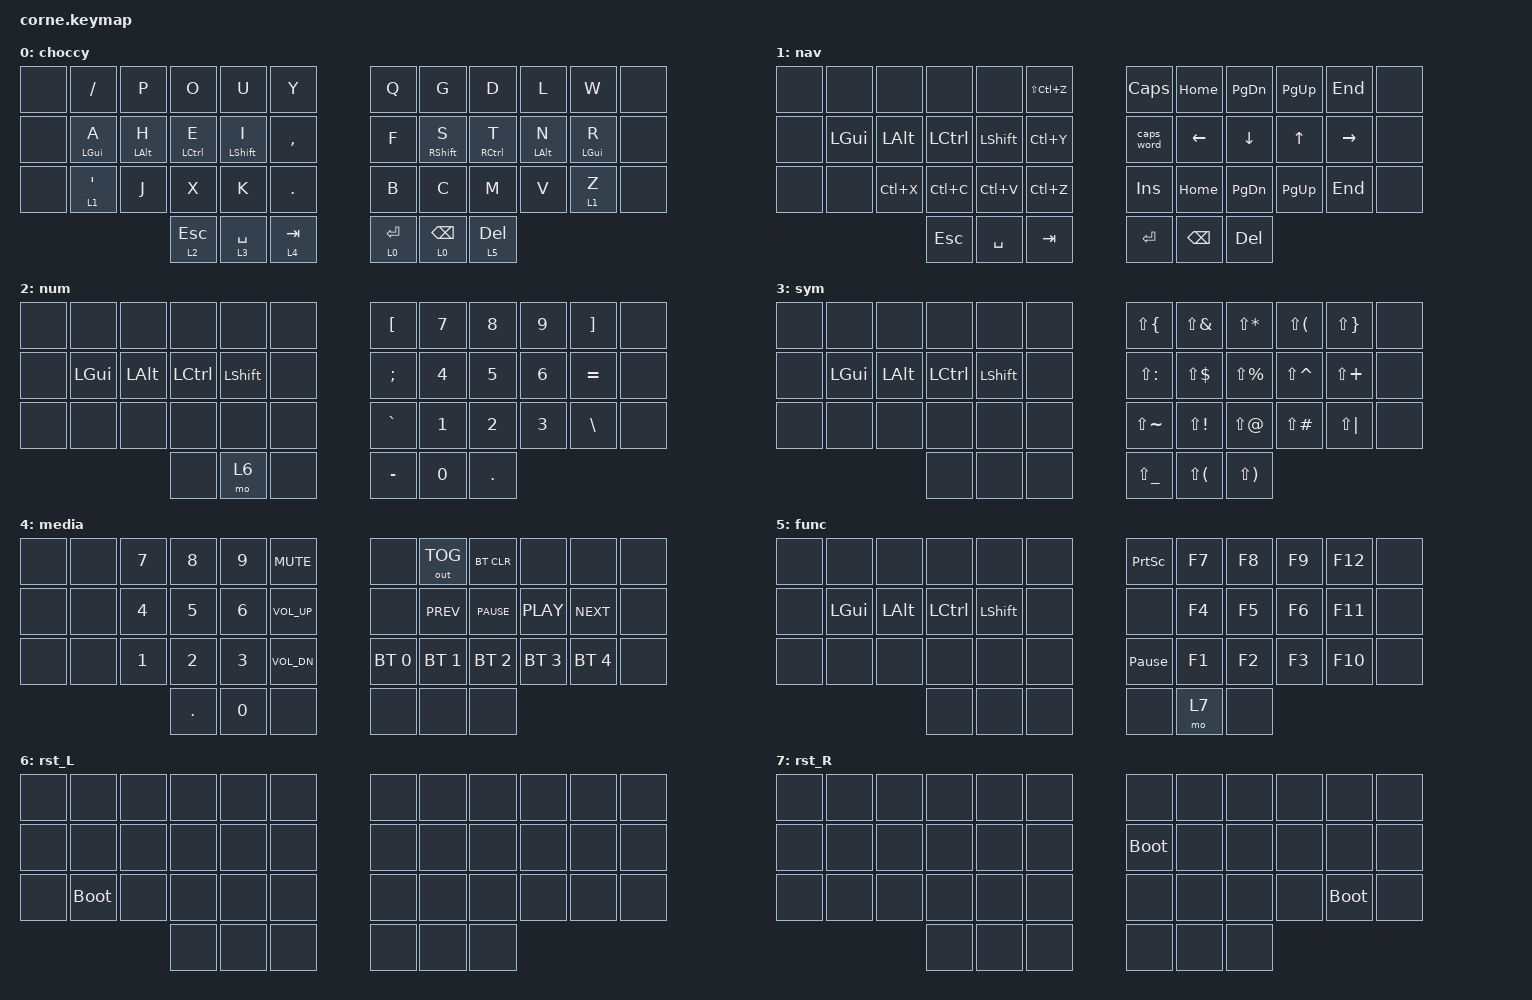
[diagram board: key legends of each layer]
/*
 * Copyright (c) 2020 The ZMK Contributors
 *
 * SPDX-License-Identifier: MIT
 */

#include <behaviors.dtsi>
#include <dt-bindings/zmk/bt.h>
#include <dt-bindings/zmk/keys.h>
#include <dt-bindings/zmk/outputs.h>

/ {
    behaviors {
        hml: home_row_mod_left {
            compatible = "zmk,behavior-hold-tap";
            #binding-cells = <2>;
            flavor = "balanced";
            require-prior-idle-ms = <150>;
            tapping-term-ms = <280>;
            quick-tap-ms = <175>;
            bindings = <&kp>, <&kp>;

            hold-trigger-key-positions = <6 7 8 9 10 11 18 19 20 21 22 23 30 31 32 33 34 35 39 40 41>;
            hold-trigger-on-release;
        };

        hmr: home_row_mod_right {
            compatible = "zmk,behavior-hold-tap";
            #binding-cells = <2>;
            flavor = "balanced";
            require-prior-idle-ms = <150>;
            tapping-term-ms = <280>;
            quick-tap-ms = <175>;
            bindings = <&kp>, <&kp>;

            hold-trigger-key-positions = <0 1 2 3 4 5 12 13 14 15 16 17 24 25 26 27 28 29 36 37 38>;
            hold-trigger-on-release;
        };
    };

    combos { compatible = "zmk,combos"; };

    keymap {
        compatible = "zmk,keymap";

        choccy {
            // -----------------------------------------------------------------------------------------
            // |  TAB |  Q  |  W  |  E  |  R  |  T  |   |  Y  |  U   |  I  |  O  |  P  | BKSP |
            // | CTRL |  A  |  S  |  D  |  F  |  G  |   |  H  |  J   |  K  |  L  |  ;  |  '   |
            // | SHFT |  Z  |  X  |  C  |  V  |  B  |   |  N  |  M   |  ,  |  .  |  /  | ESC  |
            //                    | GUI | LWR | SPC |   | ENT | RSE  | ALT |

            bindings = <
&none  &kp SLASH    &kp P            &kp O         &kp U              &kp Y         &kp Q        &kp G               &kp D         &kp L        &kp W        &none
&none  &hml LGUI A  &hml LEFT_ALT H  &hml LCTRL E  &hml LEFT_SHIFT I  &kp COMMA     &kp F        &hmr RIGHT_SHIFT S  &hmr RCTRL T  &hmr LALT N  &hmr LGUI R  &none
&none  &lt 1 SQT    &kp J            &kp X         &kp K              &kp PERIOD    &kp B        &kp C               &kp M         &kp V        &lt 1 Z      &none
                                     &lt 2 ESC     &lt 3 SPACE        &lt 4 TAB     &lt 0 ENTER  &lt 0 BACKSPACE     &lt 5 DELETE
            >;

            label = "choccy";
        };

        nav {
            bindings = <
&none  &none     &none      &none      &none      &kp LS(LC(Z))    &kp CAPS    &kp HOME  &kp PG_DN  &kp PG_UP  &kp END    &none
&none  &kp LGUI  &kp LALT   &kp LCTRL  &kp LSHFT  &kp LC(Y)        &caps_word  &kp LEFT  &kp DOWN   &kp UP     &kp RIGHT  &none
&none  &none     &kp LC(X)  &kp LC(C)  &kp LC(V)  &kp LC(Z)        &kp INS     &kp HOME  &kp PG_DN  &kp PG_UP  &kp END    &none
                            &kp ESC    &kp SPACE  &kp TAB          &kp RET     &kp BSPC  &kp DEL
            >;

            label = "nav";
        };

        num {
            bindings = <
&none  &none     &none     &none      &none      &none    &kp LBKT   &kp N7  &kp N8   &kp N9  &kp RBKT   &none
&none  &kp LGUI  &kp LALT  &kp LCTRL  &kp LSHFT  &none    &kp SEMI   &kp N4  &kp N5   &kp N6  &kp EQUAL  &none
&none  &none     &none     &none      &none      &none    &kp GRAVE  &kp N1  &kp N2   &kp N3  &kp BSLH   &none
                           &none      &mo 6      &none    &kp MINUS  &kp N0  &kp DOT
            >;

            label = "num";
        };

        sym {
            bindings = <
&none  &none     &none     &none      &none      &none    &kp LS(LBRC)   &kp LS(AMPS)  &kp LS(STAR)   &kp LS(LPAR)   &kp LS(RBRC)  &none
&none  &kp LGUI  &kp LALT  &kp LCTRL  &kp LSHFT  &none    &kp LS(COLON)  &kp LS(DLLR)  &kp LS(PRCNT)  &kp LS(CARET)  &kp LS(PLUS)  &none
&none  &none     &none     &none      &none      &none    &kp LS(TILDE)  &kp LS(EXCL)  &kp LS(AT)     &kp LS(POUND)  &kp LS(PIPE)  &none
                           &none      &none      &none    &kp LS(UNDER)  &kp LS(LPAR)  &kp LS(RPAR)
            >;

            label = "sym";
        };

        media {
            bindings = <
&none  &none  &kp N7  &kp N8   &kp N9  &kp C_MUTE      &none         &out OUT_TOG  &bt BT_CLR    &none         &none         &none
&none  &none  &kp N4  &kp N5   &kp N6  &kp C_VOL_UP    &none         &kp C_PREV    &kp C_PAUSE   &kp C_PLAY    &kp C_NEXT    &none
&none  &none  &kp N1  &kp N2   &kp N3  &kp C_VOL_DN    &bt BT_SEL 0  &bt BT_SEL 1  &bt BT_SEL 2  &bt BT_SEL 3  &bt BT_SEL 4  &none
                      &kp DOT  &kp N0  &none           &none         &none         &none
            >;

            label = "media";
        };

        func {
            bindings = <
&none  &none     &none     &none      &none      &none    &kp PSCRN        &kp F7  &kp F8  &kp F9  &kp F12  &none
&none  &kp LGUI  &kp LALT  &kp LCTRL  &kp LSHFT  &none    &none            &kp F4  &kp F5  &kp F6  &kp F11  &none
&none  &none     &none     &none      &none      &none    &kp PAUSE_BREAK  &kp F1  &kp F2  &kp F3  &kp F10  &none
                           &none      &none      &none    &none            &mo 7   &none
            >;

            label = "func";
        };

        rst_L {
            bindings = <
&none  &none        &none  &none  &none  &none    &none  &none  &none  &none  &none  &none
&none  &none        &none  &none  &none  &none    &none  &none  &none  &none  &none  &none
&none  &bootloader  &none  &none  &none  &none    &none  &none  &none  &none  &none  &none
                           &none  &none  &none    &none  &none  &none
            >;

            label = "rst_L";
        };

        rst_R {
            bindings = <
&none  &none  &none  &none  &none  &none    &none        &none  &none  &none  &none        &none
&none  &none  &none  &none  &none  &none    &bootloader  &none  &none  &none  &none        &none
&none  &none  &none  &none  &none  &none    &none        &none  &none  &none  &bootloader  &none
                     &none  &none  &none    &none        &none  &none
            >;

            label = "rst_R";
        };
    };
};
